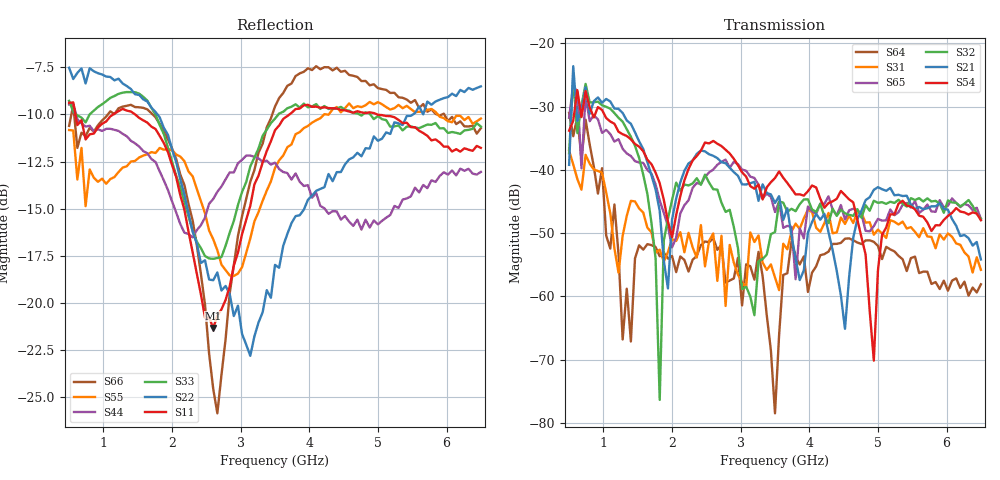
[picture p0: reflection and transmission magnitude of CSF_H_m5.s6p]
!Keysight Technologies,M9804A,MY58100912,A.14.10.03
!Date: Thursday, April 27, 2023 10:28:33
!Correction: S11(C  6-Port  )
!S12(C  6-Port  )
!S13(C  6-Port  )
!S14(C  6-Port  )
!S15(C  6-Port  )
!S16(C  6-Port  )
!S21(C  6-Port  )
!S22(C  6-Port  )
!S23(C  6-Port  )
!S24(C  6-Port  )
!S25(C  6-Port  )
!S26(C  6-Port  )
!S31(C  6-Port  )
!S32(C  6-Port  )
!S33(C  6-Port  )
!S34(C  6-Port  )
!S35(C  6-Port  )
!S36(C  6-Port  )
!S41(C  6-Port  )
!S42(C  6-Port  )
!S43(C  6-Port  )
!S44(C  6-Port  )
!S45(C  6-Port  )
!S46(C  6-Port  )
!S51(C  6-Port  )
!S52(C  6-Port  )
!S53(C  6-Port  )
!S54(C  6-Port  )
!S55(C  6-Port  )
!S56(C  6-Port  )
!S61(C  6-Port  )
!S62(C  6-Port  )
!S63(C  6-Port  )
!S64(C  6-Port  )
!S65(C  6-Port  )
!S66(C  6-Port  )
!S6P File: Measurement: :
# Hz S  RI  R 50
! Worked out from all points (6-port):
!   101 points, 500 MHz to 6.5 GHz, reference 50 ohm
!   strongest paths, dB at 500 MHz, 2 GHz, 3.5 GHz, 5 GHz, 6.5 GHz:
!     S54: -33.8, -50.7, -41.3, -55.9, -48.0
!     S21: -39.2, -47.8, -45.2, -42.7, -54.2
!     S32: -37.4, -44.8, -49.8, -45.2, -47.7
!     S65: -31.7, -52.2, -46.6, -47.7, -47.7
!     S31: -37.0, -51.0, -57.0, -49.4, -55.8
!     S64: -31.0, -53.6, -78.5, -52.0, -58.1
!   lowest |S11| = -21.3 dB at 2.6 GHz (marker M1), VSWR 1.19, Z = 42.4 + j2.31 ohm
!   |S11| at or under -10 dB: 591.9 MHz to 1.141 GHz (548.8 MHz wide, 63.3 % of centre); 1.463 GHz to 3.71 GHz (2.247 GHz wide, 86.9 % of centre); 4.99 GHz to end of sweep
